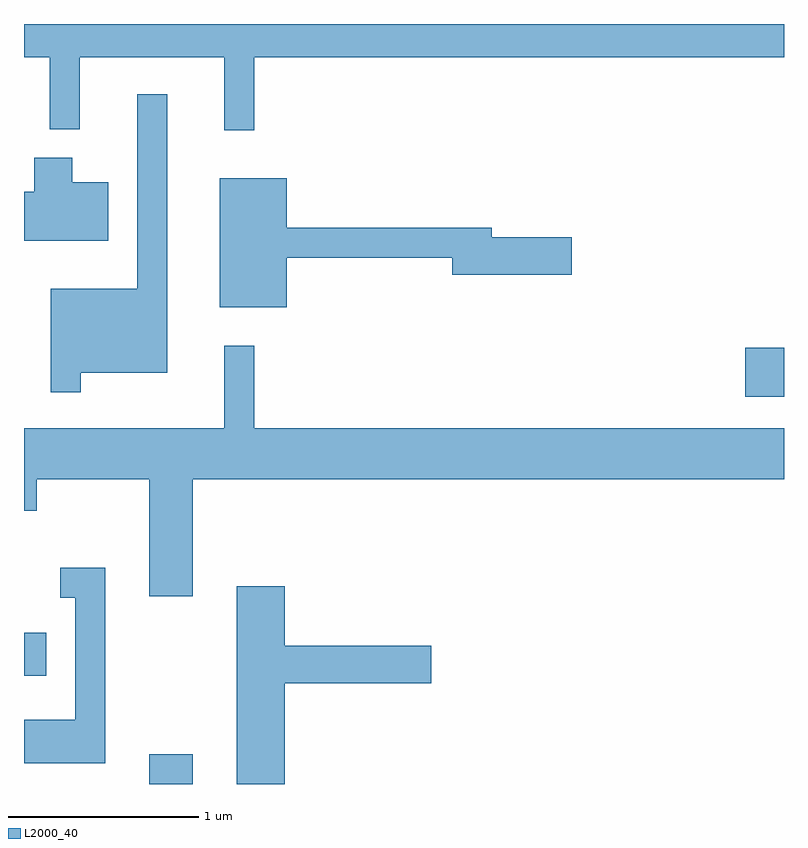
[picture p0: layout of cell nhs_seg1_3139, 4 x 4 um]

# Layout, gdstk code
import gdstk
lib = gdstk.Library(unit=1e-6, precision=1e-09)
def R(c, l, rs):  # rectangles x0, y0, x1, y1
    for r in rs: c.add(gdstk.rectangle(r[:2], r[2:], *l))
def P(c, l, *ps):  # polygons
    for p in ps: c.add(gdstk.Polygon(p, *l))
L2000_40 = (2000, 40)

nhs_seg1_3139 = lib.new_cell('nhs_seg1_3139')
R(nhs_seg1_3139, L2000_40, [(280.271,935.712,280.499,935.869), (279.611,936.281,279.729,936.509), (283.406,937.751,283.611,938.009)])
P(nhs_seg1_3139, L2000_40, [(280.824,939.536),(283.611,939.536),(283.611,939.712),(279.611,939.712),(279.611,939.536),(279.746,939.536),(279.746,939.158),(279.904,939.158),(279.904,939.536),(280.666,939.536),(280.666,939.153),(280.824,939.153)],
  [(279.909,937.876),(280.364,937.876),(280.364,939.343),(280.206,939.343),(280.206,938.319),(279.751,938.319),(279.751,937.773),(279.909,937.773)],
  [(280.054,938.879),(279.864,938.879),(279.864,939.009),(279.666,939.009),(279.666,938.829),(279.611,938.829),(279.611,938.571),(280.054,938.571)],
  [(280.994,938.481),(281.866,938.481),(281.866,938.391),(282.494,938.391),(282.494,938.589),(282.074,938.589),(282.074,938.639),(280.994,938.639),(280.994,938.899),(280.641,938.899),(280.641,938.221),(280.994,938.221)],
  [(280.499,937.316),(283.611,937.316),(283.611,937.584),(280.824,937.584),(280.824,938.018),(280.666,938.018),(280.666,937.584),(279.611,937.584),(279.611,937.151),(279.679,937.151),(279.679,937.316),(280.271,937.316),(280.271,936.701),(280.499,936.701)],
  [(280.039,936.849),(279.803,936.849),(279.803,936.691),(279.881,936.691),(279.881,936.049),(279.611,936.049),(279.611,935.821),(280.039,935.821)],
  [(280.984,936.241),(281.754,936.241),(281.754,936.439),(280.984,936.439),(280.984,936.754),(280.731,936.754),(280.731,935.712),(280.984,935.712)])

lib.write_gds('nhs_seg1_3139.gds')
